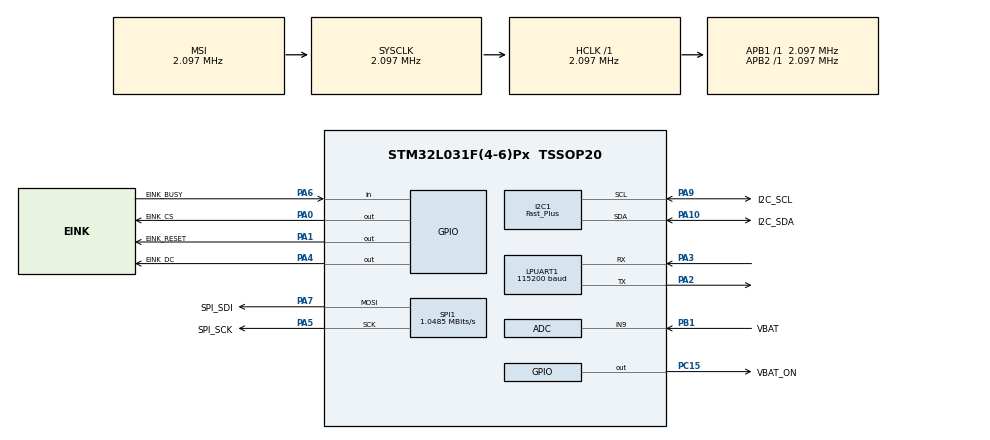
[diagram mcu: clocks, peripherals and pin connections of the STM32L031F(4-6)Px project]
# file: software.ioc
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ADC.SamplingTime=ADC_SAMPLETIME_7CYCLES_5
I2C1.I2C_Speed_Mode=I2C_Fast_Plus
I2C1.Timing=0x00000000
LPUART1.BaudRate=115200
LPUART1.WordLength=UART_WORDLENGTH_8B
Mcu.Family=STM32L0
Mcu.Name=STM32L031F(4-6)Px
Mcu.Package=TSSOP20
NVIC.RTC_IRQn=true\:0\:0\:false\:false\:true\:true\:true
PA0-CK_IN.GPIO_Label=EINK_CS
PA0-CK_IN.Signal=GPIO_Output
PA1.GPIO_Label=EINK_RESET
PA1.Signal=GPIO_Output
PA10.GPIO_Label=I2C_SDA
PA10.Mode=I2C
PA10.Signal=I2C1_SDA
PA13.Mode=Serial_Wire
PA13.Signal=SYS_SWDIO
PA14.Mode=Serial_Wire
PA14.Signal=SYS_SWCLK
PA2.Mode=Asynchronous
PA2.Signal=LPUART1_TX
PA3.Mode=Asynchronous
PA3.Signal=LPUART1_RX
PA4.GPIO_Label=EINK_DC
PA4.Signal=GPIO_Output
PA5.GPIO_Label=SPI_SCK
PA5.Mode=TX_Only_Simplex_Unidirect_Master
PA5.Signal=SPI1_SCK
PA6.GPIO_Label=EINK_BUSY
PA6.Signal=GPIO_Input
PA7.GPIO_Label=SPI_SDI
PA7.Mode=TX_Only_Simplex_Unidirect_Master
PA7.Signal=SPI1_MOSI
PA9.GPIO_Label=I2C_SCL
PA9.Mode=I2C
PA9.Signal=I2C1_SCL
PB1.GPIO_Label=VBAT
PB1.Mode=IN9
PB1.Signal=ADC_IN9
PC15-OSC32_OUT.GPIO_Label=VBAT_ON
PC15-OSC32_OUT.GPIO_ModeDefaultOutputPP=GPIO_MODE_OUTPUT_OD
PC15-OSC32_OUT.Signal=GPIO_Output
ProjectManager.HeapSize=0x200
ProjectManager.StackSize=0x400
ProjectManager.TargetToolchain=Makefile
RCC.AHBFreq_Value=2097000
RCC.APB1Freq_Value=2097000
RCC.APB1TimFreq_Value=2097000
RCC.APB2Freq_Value=2097000
RCC.APB2TimFreq_Value=2097000
RCC.HSE_VALUE=8000000
RCC.HSI16_VALUE=16000000
RCC.HSI_VALUE=16000000
RCC.LSE_VALUE=32768
RCC.MSI_VALUE=2097000
RCC.SYSCLKFreq_VALUE=2097000
RCC.VCOOutputFreq_Value=48000000
RTC.Alarm-Alarm\ A=RTC_ALARM_A
RTC.Format=RTC_FORMAT_BIN
SPI1.BaudRatePrescaler=SPI_BAUDRATEPRESCALER_2
SPI1.CLKPhase=SPI_PHASE_1EDGE
SPI1.CLKPolarity=SPI_POLARITY_LOW
SPI1.CalculateBaudRate=1.0485 MBits/s
SPI1.Direction=SPI_DIRECTION_2LINES
SPI1.Mode=SPI_MODE_MASTER
SPI1.VirtualType=VM_MASTER
VP_RTC_VS_RTC_Activate.Mode=RTC_Enabled
VP_RTC_VS_RTC_Alarm_A_Intern.Mode=Alarm A
VP_RTC_VS_RTC_Calendar.Mode=RTC_Calendar
board=custom

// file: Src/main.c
/* USER CODE BEGIN Header */
/**
  ******************************************************************************
  * @file           : main.c
  * @brief          : Main program body
  ******************************************************************************
  * @attention
  *
  * <h2><center>&copy; Copyright (c) 2020 STMicroelectronics.
  * All rights reserved.</center></h2>
  *
  * This software component is licensed by ST under BSD 3-Clause license,
  * the "License"; You may not use this file except in compliance with the
  * License. You may obtain a copy of the License at:
  *                        opensource.org/licenses/BSD-3-Clause
  *
  ******************************************************************************
  */
/* USER CODE END Header */

#include "main.h"
#include "adc.h"
#include "i2c.h"
#include "usart.h"
#include "rtc.h"
#include "spi.h"
#include "gpio.h"

/* USER CODE BEGIN Includes */
#include <stdlib.h>
#include "eeprom.h"
#include "epd.h"
#include "terre.h"
#include "Display_EPD_W21_spi.h"
#include "Display_EPD_W21.h"

/* USER CODE END Includes */

/* USER CODE BEGIN PV */
volatile uint8_t alarm = 1;
const uint16_t image_size = 5776; // 152*152*2/8
const uint16_t used_slots = 2;

extern uint8_t image10[];
extern uint8_t image13[];

/* USER CODE END PV */

void SystemClock_Config(void);

int main(void)
{
  /* USER CODE BEGIN 1 */
  // TODO: volatile to be removed after test
  volatile float battery_value;
  uint8_t image[image_size/2+255];
  volatile uint8_t slot;

  /* USER CODE END 1 */

  /* MCU Configuration--------------------------------------------------------*/

  /* Reset of all peripherals, Initializes the Flash interface and the Systick. */
  HAL_Init();

  /* Configure the system clock */
  SystemClock_Config();

  /* Initialize all configured peripherals */
  MX_GPIO_Init();
  MX_I2C1_Init();
  MX_SPI1_Init();
  MX_ADC_Init();
  MX_LPUART1_UART_Init();
  MX_RTC_Init();
  /* USER CODE BEGIN 2 */

  // TODO: Read to be tested
  battery_value = read_battery();
  // writeImage(0);

// EPD test
/*
  // EPD test
  EPD_init_4Gray(); //EPD init 4 Gray
  full_display(pic_4bit);
  EPD_sleep(); //Enter deep sleep mode
	HAL_Delay(30);

  //4 gray picture
  EPD_init_4Gray(); //EPD init 4 Gray
  full_display(pic_display_4bit); //pic1
  EPD_sleep(); //Enter deep sleep mode
  HAL_Delay(30);
*/
  /* USER CODE END 2 */

  /* Infinite loop */
  while (1)
  {

    /* USER CODE BEGIN 3 */
    if (alarm == 1) {
      alarm = 0;
      EPD_init_4Gray(); //EPD init 4 Gray

      // full_display(pic_earth);

      slot = rand() % used_slots;
      EPD_W21_WriteCMD(0x10);

      uint16_t i;

      for (i = 0; i < image_size/2; i+=255) {
        eeprom_read_bytes(slot * image_size+i, image+i, 255);
      }
      pic_from_buffer(0x10, image);
      for (i = 0; i < image_size/2; i+=255) {
        eeprom_read_bytes(slot * image_size+i+image_size/2, image+i, 255);
      }
      pic_from_buffer(0x13, image);

      epd_update();

      EPD_sleep();
      set_rtc_alarm();
      // enter_stop_mode();
    }
  }
  /* USER CODE END 3 */
}

void SystemClock_Config(void)
{
  RCC_OscInitTypeDef RCC_OscInitStruct = {0};
  RCC_ClkInitTypeDef RCC_ClkInitStruct = {0};
  RCC_PeriphCLKInitTypeDef PeriphClkInit = {0};

  /** Configure the main internal regulator output voltage
  */
  __HAL_PWR_VOLTAGESCALING_CONFIG(PWR_REGULATOR_VOLTAGE_SCALE1);
  /** Initializes the CPU, AHB and APB busses clocks
  */
  RCC_OscInitStruct.OscillatorType = RCC_OSCILLATORTYPE_LSI|RCC_OSCILLATORTYPE_MSI;
  RCC_OscInitStruct.LSIState = RCC_LSI_ON;
  RCC_OscInitStruct.MSIState = RCC_MSI_ON;
  RCC_OscInitStruct.MSICalibrationValue = 0;
  RCC_OscInitStruct.MSIClockRange = RCC_MSIRANGE_5;
  RCC_OscInitStruct.PLL.PLLState = RCC_PLL_NONE;
  if (HAL_RCC_OscConfig(&RCC_OscInitStruct) != HAL_OK)
  {
    Error_Handler();
  }
  /** Initializes the CPU, AHB and APB busses clocks
  */
  RCC_ClkInitStruct.ClockType = RCC_CLOCKTYPE_HCLK|RCC_CLOCKTYPE_SYSCLK
                              |RCC_CLOCKTYPE_PCLK1|RCC_CLOCKTYPE_PCLK2;
  RCC_ClkInitStruct.SYSCLKSource = RCC_SYSCLKSOURCE_MSI;
  RCC_ClkInitStruct.AHBCLKDivider = RCC_SYSCLK_DIV1;
  RCC_ClkInitStruct.APB1CLKDivider = RCC_HCLK_DIV1;
  RCC_ClkInitStruct.APB2CLKDivider = RCC_HCLK_DIV1;

  if (HAL_RCC_ClockConfig(&RCC_ClkInitStruct, FLASH_LATENCY_0) != HAL_OK)
  {
    Error_Handler();
  }
  PeriphClkInit.PeriphClockSelection = RCC_PERIPHCLK_LPUART1|RCC_PERIPHCLK_I2C1
                              |RCC_PERIPHCLK_RTC;
  PeriphClkInit.Lpuart1ClockSelection = RCC_LPUART1CLKSOURCE_PCLK1;
  PeriphClkInit.I2c1ClockSelection = RCC_I2C1CLKSOURCE_PCLK1;
  PeriphClkInit.RTCClockSelection = RCC_RTCCLKSOURCE_LSI;
  if (HAL_RCCEx_PeriphCLKConfig(&PeriphClkInit) != HAL_OK)
  {
    Error_Handler();
  }
}

/* USER CODE BEGIN 4 */
void enter_stop_mode(void) {
  GPIO_InitTypeDef GPIO_InitStruct = {0};
  GPIO_InitStruct.Pin = 0xFFFFU;
  GPIO_InitStruct.Mode = GPIO_MODE_ANALOG;
  GPIO_InitStruct.Pull = GPIO_NOPULL;
  HAL_GPIO_Init(GPIOA, &GPIO_InitStruct);
  HAL_GPIO_Init(GPIOB, &GPIO_InitStruct);
  HAL_GPIO_Init(GPIOC, &GPIO_InitStruct);

  // Clear WeakUp flag then enter stop mode
__HAL_PWR_CLEAR_FLAG(PWR_FLAG_WU);
  HAL_PWR_EnterSTOPMode(PWR_LOWPOWERREGULATOR_ON, PWR_STOPENTRY_WFI);

  MX_GPIO_Init();
}

void HAL_RTC_AlarmAEventCallback(RTC_HandleTypeDef *hrtc) {
  alarm = 1;
}

void set_rtc_alarm(void) {
  RTC_TimeTypeDef sTime = {0};
  RTC_AlarmTypeDef sAlarm = {0};

  // Reset time
  sTime.Hours = 0;
  sTime.Minutes = 0;
  sTime.Seconds = 0;
  sTime.DayLightSaving = RTC_DAYLIGHTSAVING_NONE;
  sTime.StoreOperation = RTC_STOREOPERATION_RESET;
  if (HAL_RTC_SetTime(&hrtc, &sTime, RTC_FORMAT_BIN) != HAL_OK)
  {
    Error_Handler();
  }

  /** Enable the Alarm A
  */
  sAlarm.AlarmTime.Hours = 0;
  sAlarm.AlarmTime.Minutes = 0;
  sAlarm.AlarmTime.Seconds = 10;
  sAlarm.AlarmTime.SubSeconds = 0;
  sAlarm.AlarmTime.DayLightSaving = RTC_DAYLIGHTSAVING_NONE;
  sAlarm.AlarmTime.StoreOperation = RTC_STOREOPERATION_RESET;
  sAlarm.AlarmMask = RTC_ALARMMASK_NONE;
  sAlarm.AlarmSubSecondMask = RTC_ALARMSUBSECONDMASK_ALL;
  sAlarm.AlarmDateWeekDaySel = RTC_ALARMDATEWEEKDAYSEL_DATE;
  sAlarm.AlarmDateWeekDay = 1;
  sAlarm.Alarm = RTC_ALARM_A;
  if (HAL_RTC_SetAlarm_IT(&hrtc, &sAlarm, RTC_FORMAT_BIN) != HAL_OK)
  {
    Error_Handler();
  }
}

void writeImage(uint8_t slot) {
  for (uint32_t i = 0; i < ((uint32_t) image_size/2); i++) {
    eeprom_write_byte(i + slot * image_size, image10[i]);
  }
  for (uint32_t i = 0; i < image_size/2; i++) {
    eeprom_write_byte(i+ image_size/2 + slot * image_size, image13[i]);
  }
}

/* USER CODE END 4 */

void Error_Handler(void)
{
  /* USER CODE BEGIN Error_Handler_Debug */
  /* User can add his own implementation to report the HAL error return state */
  while(1);
  /* USER CODE END Error_Handler_Debug */
}

/************************ (C) COPYRIGHT STMicroelectronics *****END OF FILE****/
